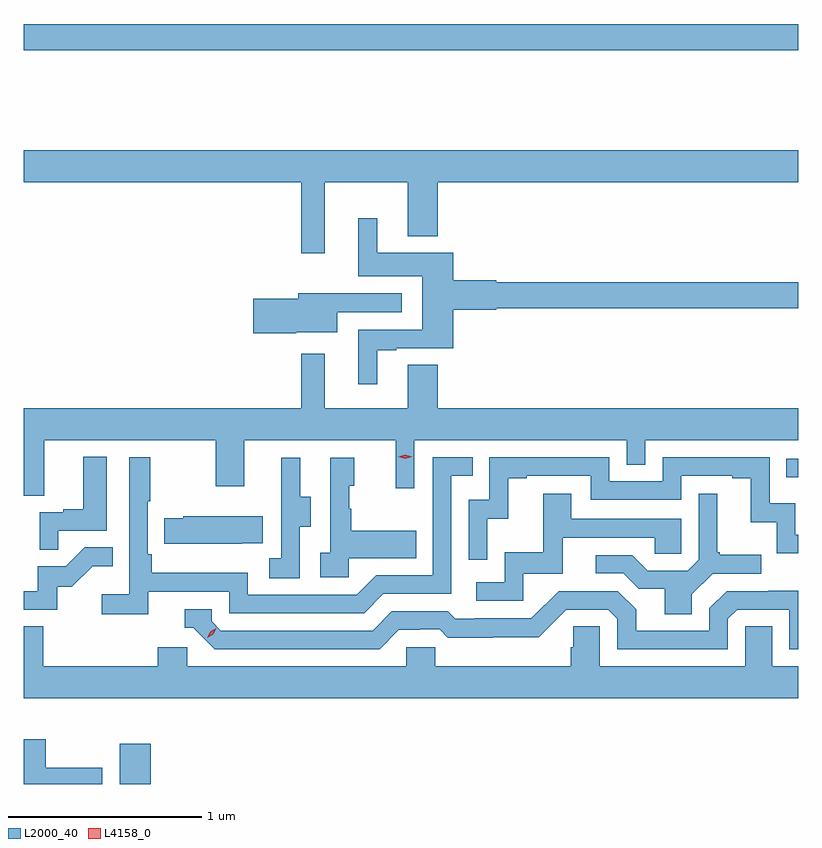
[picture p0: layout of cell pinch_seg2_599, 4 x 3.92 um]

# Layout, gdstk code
import gdstk
lib = gdstk.Library(unit=1e-6, precision=1e-09)
def R(c, l, rs):  # rectangles x0, y0, x1, y1
    for r in rs: c.add(gdstk.rectangle(r[:2], r[2:], *l))
def P(c, l, *ps):  # polygons
    for p in ps: c.add(gdstk.Polygon(p, *l))
L2000_40 = (2000, 40)
L4158_0 = (4158, 0)

pinch_seg2_599 = lib.new_cell('pinch_seg2_599')
R(pinch_seg2_599, L2000_40, [(1030.019,609.897,1030.18,610.105), (1033.459,611.48,1033.523,611.577), (1029.523,613.684,1033.523,613.82)])
P(pinch_seg2_599, L2000_40, [(1031.077,613.004),(1031.507,613.004),(1031.507,612.725),(1031.66,612.725),(1031.66,613.004),(1033.523,613.004),(1033.523,613.168),(1029.523,613.168),(1029.523,613.004),(1030.956,613.004),(1030.956,612.636),(1031.077,612.636)],
  [(1031.35,612.135),(1031.446,612.135),(1031.446,612.147),(1031.741,612.147),(1031.741,612.344),(1031.964,612.344),(1031.964,612.352),(1033.523,612.352),(1033.523,612.488),(1031.964,612.488),(1031.964,612.496),(1031.741,612.496),(1031.741,612.64),(1031.35,612.64),(1031.35,612.817),(1031.252,612.817),(1031.252,612.518),(1031.582,612.518),(1031.582,612.243),(1031.252,612.243),(1031.252,611.961),(1031.35,611.961)],
  [(1030.93,612.23),(1031.143,612.23),(1031.143,612.333),(1031.476,612.333),(1031.476,612.429),(1031.156,612.429),(1031.156,612.431),(1030.94,612.431),(1030.94,612.401),(1030.71,612.401),(1030.71,612.223),(1030.93,612.223)],
  [(1029.631,611.672),(1030.516,611.672),(1030.516,611.433),(1030.663,611.433),(1030.663,611.672),(1031.444,611.672),(1031.444,611.424),(1031.541,611.424),(1031.541,611.672),(1032.636,611.672),(1032.636,611.545),(1032.732,611.545),(1032.732,611.672),(1033.523,611.672),(1033.523,611.836),(1031.66,611.836),(1031.66,612.062),(1031.507,612.062),(1031.507,611.836),(1031.077,611.836),(1031.077,612.118),(1030.956,612.118),(1030.956,611.836),(1029.523,611.836),(1029.523,611.386),(1029.631,611.386)],
  [(1029.701,611.205),(1029.952,611.205),(1029.952,611.587),(1029.83,611.587),(1029.83,611.314),(1029.727,611.314),(1029.727,611.301),(1029.606,611.301),(1029.606,611.107),(1029.701,611.107)],
  [(1030.166,610.89),(1030.584,610.89),(1030.584,610.779),(1031.281,610.779),(1031.38,610.878),(1031.73,610.878),(1031.73,611.487),(1031.843,611.487),(1031.843,611.583),(1031.634,611.583),(1031.634,610.974),(1031.343,610.974),(1031.244,610.875),(1030.68,610.875),(1030.68,610.987),(1030.184,610.987),(1030.184,611.083),(1030.164,611.083),(1030.164,611.356),(1030.177,611.356),(1030.177,611.584),(1030.068,611.584),(1030.068,610.876),(1029.927,610.876),(1029.927,610.774),(1030.166,610.774)],
  [(1031.916,611.267),(1032.026,611.267),(1032.026,611.475),(1032.121,611.475),(1032.121,611.487),(1032.45,611.487),(1032.45,611.364),(1032.918,611.364),(1032.918,611.487),(1033.181,611.487),(1033.181,611.475),(1033.277,611.475),(1033.277,611.249),(1033.41,611.249),(1033.41,611.088),(1033.523,611.088),(1033.523,611.184),(1033.506,611.184),(1033.506,611.347),(1033.374,611.347),(1033.374,611.583),(1032.822,611.583),(1032.822,611.46),(1032.546,611.46),(1032.546,611.583),(1031.928,611.583),(1031.928,611.364),(1031.82,611.364),(1031.82,611.055),(1031.916,611.055)],
  [(1031.202,611.063),(1031.549,611.063),(1031.549,611.203),(1031.215,611.203),(1031.215,611.318),(1031.205,611.318),(1031.205,611.436),(1031.23,611.436),(1031.23,611.581),(1031.106,611.581),(1031.106,611.09),(1031.055,611.09),(1031.055,610.965),(1031.202,610.965)],
  [(1030.95,611.224),(1031.005,611.224),(1031.005,611.379),(1030.951,611.379),(1030.951,611.581),(1030.853,611.581),(1030.853,611.367),(1030.854,611.367),(1030.854,611.063),(1030.791,611.063),(1030.791,610.96),(1030.95,610.96)],
  [(1032.102,610.983),(1032.307,610.983),(1032.307,611.169),(1032.781,611.169),(1032.781,611.085),(1032.918,611.085),(1032.918,611.265),(1032.349,611.265),(1032.349,611.395),(1032.205,611.395),(1032.205,611.092),(1032.006,611.092),(1032.006,610.938),(1031.859,610.938),(1031.859,610.842),(1032.102,610.842)],
  [(1032.973,610.876),(1033.08,610.983),(1033.33,610.983),(1033.33,611.08),(1033.117,611.08),(1033.117,611.092),(1033.105,611.092),(1033.105,611.395),(1033.008,611.395),(1033.008,611.055),(1032.951,610.998),(1032.745,610.998),(1032.664,611.079),(1032.477,611.079),(1032.477,610.986),(1032.618,610.986),(1032.698,610.906),(1032.833,610.906),(1032.833,610.774),(1032.973,610.774)],
  [(1030.649,611.141),(1030.757,611.141),(1030.757,611.278),(1030.347,611.278),(1030.347,611.268),(1030.249,611.268),(1030.249,611.138),(1030.649,611.138)],
  [(1029.696,610.914),(1029.772,610.914),(1029.879,611.021),(1029.983,611.021),(1029.983,611.12),(1029.84,611.12),(1029.742,611.022),(1029.597,611.022),(1029.597,610.893),(1029.523,610.893),(1029.523,610.797),(1029.696,610.797)],
  [(1031.461,610.692),(1031.568,610.692),(1031.568,610.695),(1031.671,610.695),(1031.713,610.653),(1031.946,610.653),(1031.946,610.655),(1032.182,610.655),(1032.324,610.797),(1032.54,610.797),(1032.588,610.749),(1032.588,610.593),(1033.158,610.593),(1033.158,610.749),(1033.206,610.797),(1033.476,610.797),(1033.476,610.593),(1033.523,610.593),(1033.523,610.895),(1033.368,610.895),(1033.368,610.893),(1033.152,610.893),(1033.062,610.803),(1033.062,610.689),(1032.685,610.689),(1032.685,610.799),(1032.591,610.893),(1032.285,610.893),(1032.144,610.752),(1031.851,610.752),(1031.851,610.749),(1031.752,610.749),(1031.713,610.788),(1031.424,610.788),(1031.325,610.689),(1030.542,610.689),(1030.494,610.737),(1030.494,610.8),(1030.355,610.8),(1030.355,610.704),(1030.398,610.704),(1030.509,610.593),(1031.362,610.593)],
  [(1033.523,610.504),(1033.387,610.504),(1033.387,610.712),(1033.248,610.712),(1033.248,610.504),(1032.498,610.504),(1032.498,610.712),(1032.361,610.712),(1032.361,610.602),(1032.347,610.602),(1032.347,610.504),(1031.649,610.504),(1031.649,610.602),(1031.499,610.602),(1031.499,610.504),(1030.368,610.504),(1030.368,610.602),(1030.217,610.602),(1030.217,610.504),(1029.626,610.504),(1029.626,610.712),(1029.523,610.712),(1029.523,610.34),(1033.523,610.34)],
  [(1029.93,609.982),(1029.637,609.982),(1029.637,610.128),(1029.523,610.128),(1029.523,609.897),(1029.93,609.897)])
P(pinch_seg2_599, L4158_0, [(1030.471,610.651),(1030.471,610.651),(1030.488,610.683),(1030.519,610.702),(1030.519,610.702),(1030.519,610.702),(1030.502,610.67),(1030.471,610.651)],
  [(1031.494,611.576),(1031.458,611.586),(1031.458,611.586),(1031.458,611.587),(1031.494,611.596),(1031.53,611.586),(1031.53,611.586),(1031.53,611.586)])

lib.write_gds('pinch_seg2_599.gds')
